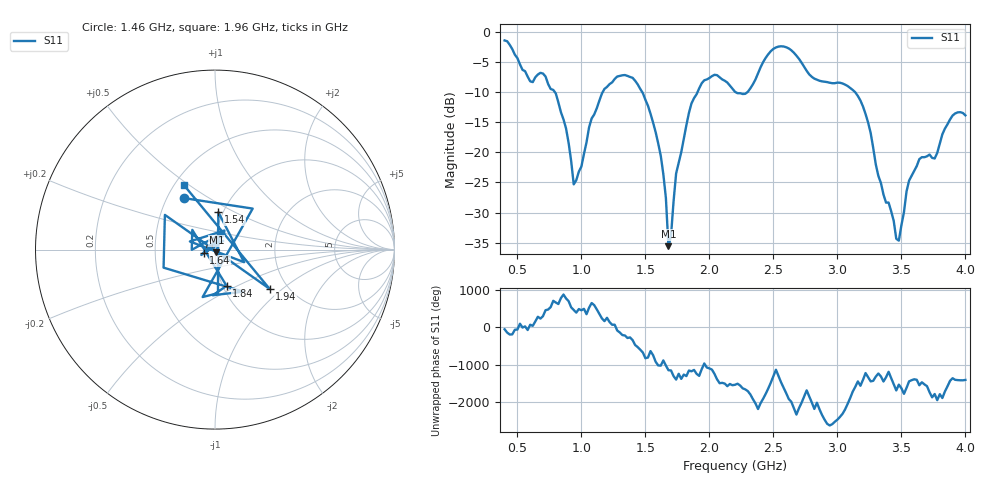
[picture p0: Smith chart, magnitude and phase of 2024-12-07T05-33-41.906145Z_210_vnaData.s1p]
!Created with skrf (http://scikit-rf.org).
# Hz S RI R 50.0
!freq ReS11 ImS11
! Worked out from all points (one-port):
!   181 points, 400 MHz to 4 GHz, reference 50 ohm
!   lowest |S11| = -35.6 dB at 1.68 GHz (marker M1), VSWR 1.03, Z = 50.7 - j1.51 ohm
!   |S11| at or under -10 dB: 792.4 MHz to 1.166 GHz (374 MHz wide, 38.2 % of centre); 1.475 GHz to 1.907 GHz (432.1 MHz wide, 25.5 % of centre); 3.138 GHz to end of sweep (the widest 3 of 4)
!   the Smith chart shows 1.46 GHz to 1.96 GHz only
!   S11 on the Smith chart (normalised r, x): 1.46 GHz: 0.61, +0.39; 1.54 GHz: 0.95, +0.41; 1.64 GHz: 0.88, -0.03; 1.84 GHz: 1.04, -0.44; 1.94 GHz: 1.62, -0.82; 1.96 GHz: 0.56, +0.48
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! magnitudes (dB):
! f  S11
! 400 MHz  -1.4
! 600 MHz  -8.2
! 720 MHz  -7.4
! 860 MHz  -14.5
! 940 MHz  -25.3
! 1.16 GHz  -10.2
! 1.3 GHz  -7.3
! 1.46 GHz  -9.5
! 1.54 GHz  -13.6
! 1.64 GHz  -23.6
! 1.68 GHz  -35.6
! 1.76 GHz  -21.7
! 1.84 GHz  -13.5
! 1.94 GHz  -8.5
! 1.96 GHz  -8.0
! 2.2 GHz  -10.0
! 2.3 GHz  -10.0
! 2.5 GHz  -2.8
! 2.66 GHz  -3.5
! 2.82 GHz  -7.8
! 3.1 GHz  -9.3
! 3.22 GHz  -13.6
! 3.46 GHz  -34.4
! 3.48 GHz  -34.7
! 3.56 GHz  -24.7
! 3.76 GHz  -21.0
! 3.9 GHz  -13.9
! 4 GHz  -13.9
